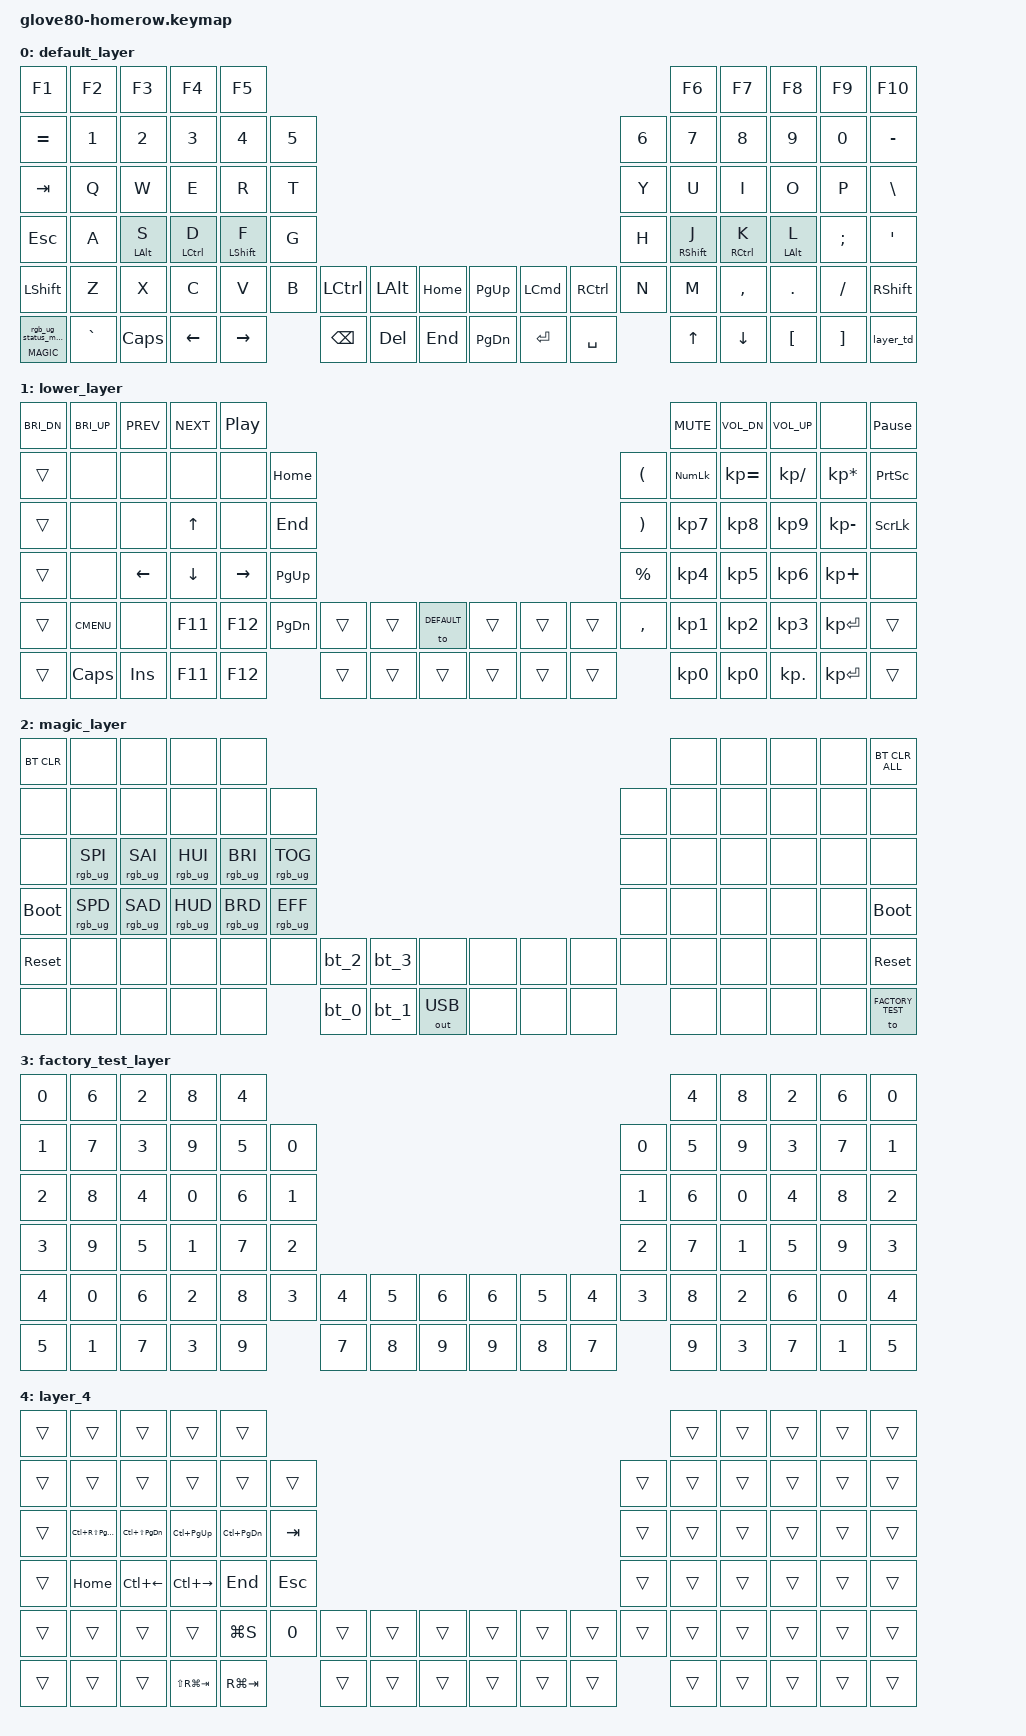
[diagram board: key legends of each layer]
/*
 * Copyright (c) 2020 The ZMK Contributors
 *
 * SPDX-License-Identifier: MIT
 */

#include <behaviors.dtsi>
#include <dt-bindings/zmk/bt.h>
#include <dt-bindings/zmk/keys.h>
#include <dt-bindings/zmk/outputs.h>
#include <dt-bindings/zmk/rgb.h>

#define HYPER LC(LS(LG(LALT)))

// layers

#define DEFAULT 0
#define LOWER 1
#define MAGIC 2
#define FACTORY_TEST 3

/ {
    behaviors {
        // For the "layer" key, it'd nice to be able to use it as either a shift or a toggle.
        // Configure it as a tap dance, so the first tap (or hold) is a &mo and the second tap is a &to

        layer_td: tap_dance_0 {
            compatible = "zmk,behavior-tap-dance";
            label = "LAYER_TAP_DANCE";
            #binding-cells = <0>;
            tapping-term-ms = <200>;
            bindings = <&mo LOWER>, <&to LOWER>;
        };

        magic: magic_hold_tap {
            compatible = "zmk,behavior-hold-tap";
            label = "MAGIC_HOLD_TAP";
            #binding-cells = <2>;
            flavor = "tap-preferred";
            tapping-term-ms = <200>;
            bindings = <&mo>, <&rgb_ug_status_macro>;
        };

        hm: hm {
            compatible = "zmk,behavior-hold-tap";
            label = "HM";
            bindings = <&kp>, <&kp>;

            #binding-cells = <2>;
            tapping-term-ms = <200>;
            flavor = "balanced";
            require-prior-idle-ms = <120>;
            hold-trigger-on-release;
        };
    };

    macros {
        rgb_ug_status_macro: rgb_ug_status_macro_0 {
            label = "RGB_UG_STATUS";
            compatible = "zmk,behavior-macro";
            #binding-cells = <0>;
            bindings = <&rgb_ug RGB_STATUS>;
        };

        bt_0: bt_profile_macro_0 {
            label = "BT_0";
            compatible = "zmk,behavior-macro";
            #binding-cells = <0>;
            bindings = <&out OUT_BLE &bt BT_SEL 0>;
        };

        bt_1: bt_profile_macro_1 {
            label = "BT_1";
            compatible = "zmk,behavior-macro";
            #binding-cells = <0>;
            bindings = <&out OUT_BLE &bt BT_SEL 1>;
        };

        bt_2: bt_profile_macro_2 {
            label = "BT_2";
            compatible = "zmk,behavior-macro";
            #binding-cells = <0>;
            bindings = <&out OUT_BLE &bt BT_SEL 2>;
        };

        bt_3: bt_profile_macro_3 {
            label = "BT_3";
            compatible = "zmk,behavior-macro";
            #binding-cells = <0>;
            bindings = <&out OUT_BLE &bt BT_SEL 3>;
        };

        super_tab: super_tab {
            compatible = "zmk,behavior-macro";
            #binding-cells = <0>;
            bindings = <&kp RIGHT_GUI &kp TAB>;
            label = "SUPER_TAB";
        };

        super_shift_tab: super_shift_tab {
            compatible = "zmk,behavior-macro";
            #binding-cells = <0>;
            bindings = <&kp RIGHT_GUI &kp LEFT_SHIFT &kp TAB>;
            label = "SUPER_SHIFT_TAB";
        };
    };

    keymap {
        compatible = "zmk,keymap";

        default_layer {
            // ---------------------------------------------------------------------------------------------------------------------------------
            // |  F1   |  F2 |  F3 |  F4  |  F5  |                                                               |  F6   |  F7   |  F8  |   F9  |  F10 |
            // |  =    |  1  |  2  |  3   |  4   |  5   |                                                 |  6   |   7   |   8   |  9   |   0   |   -  |
            // |  TAB  |  Q  |  W  |  E   |  R   |  T   |                                                 |  Y   |   U   |   I   |  O   |   P   |   \  |
            // |  ESC  |  A  |  S  |  D   |  F   |  G   |                                                 |  H   |   J   |   K   |  L   |   ;   |   '  |
            // |   `   |  Z  |  X  |  C   |  V   |  B   | LSHFT | LCTRL | LOWER | | LGUI  | RCTRL | RSHFT |  N   |   M   |   ,   |  .   |   /   | PGUP |
            // | MAGIC | HOME| END | LEFT | RIGHT|      | BSPC  | DEL   | LALT  | | RALT  | RET   | SPACE |      |  UP   | DOWN  |  [   |   ]   | PGDN |

            bindings = <
&kp F1          &kp F2     &kp F3          &kp F4       &kp F5                                                                                                                  &kp F6             &kp F7       &kp F8          &kp F9    &kp F10
&kp EQUAL       &kp N1     &kp N2          &kp N3       &kp N4            &kp N5                                                                                        &kp N6  &kp N7             &kp N8       &kp N9          &kp N0    &kp MINUS
&kp TAB         &kp Q      &kp W           &kp E        &kp R             &kp T                                                                                         &kp Y   &kp U              &kp I        &kp O           &kp P     &kp BSLH
&kp ESC         &kp A      &hm LEFT_ALT S  &hm LCTRL D  &hm LEFT_SHIFT F  &kp G                                                                                         &kp H   &hm RIGHT_SHIFT J  &hm RCTRL K  &hm LEFT_ALT L  &kp SEMI  &kp SQT
&kp LEFT_SHIFT  &kp Z      &kp X           &kp C        &kp V             &kp B   &kp LEFT_CONTROL  &kp LEFT_ALT  &kp HOME  &kp PAGE_UP    &kp LCMD  &kp RIGHT_CONTROL  &kp N   &kp M              &kp COMMA    &kp DOT         &kp FSLH  &kp RIGHT_SHIFT
&magic MAGIC 0  &kp GRAVE  &kp CAPSLOCK    &kp LEFT     &kp RIGHT                 &kp BSPC          &kp DEL       &kp END   &kp PAGE_DOWN  &kp RET   &kp SPACE                  &kp UP             &kp DOWN     &kp LBKT        &kp RBKT  &layer_td
            >;
        };

        lower_layer {
            bindings = <
&kp C_BRI_DN  &kp C_BRI_UP  &kp C_PREV  &kp C_NEXT  &kp C_PP                                                                              &kp C_MUTE  &kp C_VOL_DN  &kp C_VOL_UP   &none            &kp PAUSE_BREAK
&trans        &none         &none       &none       &none      &kp HOME                                                        &kp LPAR   &kp KP_NUM  &kp KP_EQUAL  &kp KP_DIVIDE  &kp KP_MULTIPLY  &kp PSCRN
&trans        &none         &none       &kp UP      &none      &kp END                                                         &kp RPAR   &kp KP_N7   &kp KP_N8     &kp KP_N9      &kp KP_MINUS     &kp SLCK
&trans        &none         &kp LEFT    &kp DOWN    &kp RIGHT  &kp PG_UP                                                       &kp PRCNT  &kp KP_N4   &kp KP_N5     &kp KP_N6      &kp KP_PLUS      &none
&trans        &kp K_CMENU   &none       &kp F11     &kp F12    &kp PG_DN  &trans  &trans  &to DEFAULT  &trans  &trans  &trans  &kp COMMA  &kp KP_N1   &kp KP_N2     &kp KP_N3      &kp KP_ENTER     &trans
&trans        &kp CAPS      &kp INS     &kp F11     &kp F12               &trans  &trans  &trans       &trans  &trans  &trans             &kp KP_N0   &kp KP_N0     &kp KP_DOT     &kp KP_ENTER     &trans
            >;
        };

        magic_layer {
            bindings = <
&bt BT_CLR   &none            &none            &none            &none                                                                                     &none  &none  &none  &none  &bt BT_CLR_ALL
&none        &none            &none            &none            &none            &none                                                             &none  &none  &none  &none  &none  &none
&none        &rgb_ug RGB_SPI  &rgb_ug RGB_SAI  &rgb_ug RGB_HUI  &rgb_ug RGB_BRI  &rgb_ug RGB_TOG                                                   &none  &none  &none  &none  &none  &none
&bootloader  &rgb_ug RGB_SPD  &rgb_ug RGB_SAD  &rgb_ug RGB_HUD  &rgb_ug RGB_BRD  &rgb_ug RGB_EFF                                                   &none  &none  &none  &none  &none  &bootloader
&sys_reset   &none            &none            &none            &none            &none            &bt_2  &bt_3  &none         &none  &none  &none  &none  &none  &none  &none  &none  &sys_reset
&none        &none            &none            &none            &none                             &bt_0  &bt_1  &out OUT_USB  &none  &none  &none         &none  &none  &none  &none  &to FACTORY_TEST
            >;
        };

        factory_test_layer {
            bindings = <
&kp N0  &kp N6  &kp N2  &kp N8  &kp N4                                                                  &kp N4  &kp N8  &kp N2  &kp N6  &kp N0
&kp N1  &kp N7  &kp N3  &kp N9  &kp N5  &kp N0                                                  &kp N0  &kp N5  &kp N9  &kp N3  &kp N7  &kp N1
&kp N2  &kp N8  &kp N4  &kp N0  &kp N6  &kp N1                                                  &kp N1  &kp N6  &kp N0  &kp N4  &kp N8  &kp N2
&kp N3  &kp N9  &kp N5  &kp N1  &kp N7  &kp N2                                                  &kp N2  &kp N7  &kp N1  &kp N5  &kp N9  &kp N3
&kp N4  &kp N0  &kp N6  &kp N2  &kp N8  &kp N3  &kp N4  &kp N5  &kp N6  &kp N6  &kp N5  &kp N4  &kp N3  &kp N8  &kp N2  &kp N6  &kp N0  &kp N4
&kp N5  &kp N1  &kp N7  &kp N3  &kp N9          &kp N7  &kp N8  &kp N9  &kp N9  &kp N8  &kp N7          &kp N9  &kp N3  &kp N7  &kp N1  &kp N5
            >;
        };

        layer_4 {
            bindings = <
&trans  &trans               &trans                 &trans           &trans                                                                                   &trans  &trans  &trans  &trans  &trans
&trans  &trans               &trans                 &trans           &trans             &trans                                                        &trans  &trans  &trans  &trans  &trans  &trans
&trans  &kp LC(RS(PAGE_UP))  &kp LC(LS(PAGE_DOWN))  &kp LC(PAGE_UP)  &kp LC(PAGE_DOWN)  &kp TAB                                                       &trans  &trans  &trans  &trans  &trans  &trans
&trans  &kp HOME             &kp LC(LEFT)           &kp LC(RIGHT)    &kp END            &kp ESCAPE                                                    &trans  &trans  &trans  &trans  &trans  &trans
&trans  &trans               &trans                 &trans           &kp LG(S)          &kp NUMBER_0  &trans  &trans  &trans  &trans  &trans  &trans  &trans  &trans  &trans  &trans  &trans  &trans
&trans  &trans               &trans                 &kp LS(RG(TAB))  &kp RG(TAB)                      &trans  &trans  &trans  &trans  &trans  &trans          &trans  &trans  &trans  &trans  &trans
            >;
        };
    };
};
